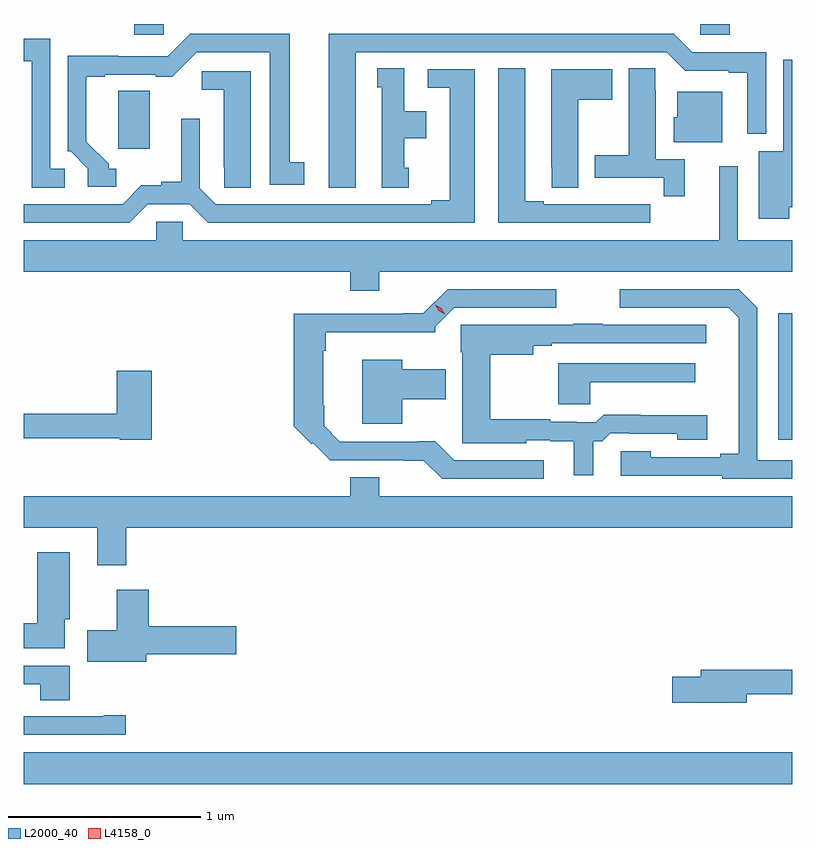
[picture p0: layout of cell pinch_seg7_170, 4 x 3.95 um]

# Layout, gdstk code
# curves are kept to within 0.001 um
import gdstk
lib = gdstk.Library(unit=1e-6, precision=1e-09)
def R(c, l, rs):  # rectangles x0, y0, x1, y1
    for r in rs: c.add(gdstk.rectangle(r[:2], r[2:], *l))
def P(c, l, *ps):  # polygons
    for p in ps: c.add(gdstk.Polygon(p, *l))
L2000_40 = (2000, 40)
L4158_0 = (4158, 0)

pinch_seg7_170 = lib.new_cell('pinch_seg7_170')
R(pinch_seg7_170, L2000_40, [(1106.128,1000.616,1110.128,1000.78), (1110.053,1002.406,1110.128,1003.064), (1106.705,1004.514,1106.856,1004.57), (1109.649,1004.514,1109.801,1004.57)])
P(pinch_seg7_170, L2000_40, [(1106.611,1003.818),(1106.572,1003.818),(1106.572,1003.842),(1106.455,1003.958),(1106.455,1004.295),(1106.551,1004.295),(1106.551,1004.307),(1106.816,1004.307),(1106.816,1004.296),(1106.902,1004.296),(1107.03,1004.424),(1107.41,1004.424),(1107.41,1003.734),(1107.589,1003.734),(1107.589,1003.85),(1107.514,1003.85),(1107.514,1004.52),(1106.994,1004.52),(1106.877,1004.403),(1106.621,1004.403),(1106.621,1004.405),(1106.358,1004.405),(1106.358,1003.908),(1106.373,1003.908),(1106.463,1003.818),(1106.463,1003.722),(1106.611,1003.722)],
  [(1107.856,1004.424),(1109.475,1004.424),(1109.571,1004.328),(1109.798,1004.328),(1109.798,1004.316),(1109.894,1004.316),(1109.894,1003.998),(1109.991,1003.998),(1109.991,1004.424),(1109.607,1004.424),(1109.511,1004.52),(1107.716,1004.52),(1107.716,1003.719),(1107.856,1003.719)],
  [(1106.341,1003.818),(1106.268,1003.818),(1106.268,1004.493),(1106.128,1004.493),(1106.128,1004.377),(1106.171,1004.377),(1106.171,1003.717),(1106.341,1003.717)],
  [(1110.112,1003.616),(1110.128,1003.616),(1110.128,1004.383),(1110.081,1004.383),(1110.081,1003.909),(1109.954,1003.909),(1109.954,1003.557),(1110.112,1003.557)],
  [(1108.132,1003.821),(1108.108,1003.821),(1108.108,1003.976),(1108.222,1003.976),(1108.222,1004.116),(1108.108,1004.116),(1108.108,1004.339),(1107.968,1004.339),(1107.968,1004.241),(1107.992,1004.241),(1107.992,1003.719),(1108.132,1003.719)],
  [(1109.567,1003.866),(1109.416,1003.866),(1109.416,1004.228),(1109.415,1004.228),(1109.415,1004.339),(1109.276,1004.339),(1109.276,1003.887),(1109.099,1003.887),(1109.099,1003.77),(1109.458,1003.77),(1109.458,1003.674),(1109.567,1003.674)],
  [(1109.389,1003.632),(1109.276,1003.632),(1109.276,1003.633),(1109.11,1003.633),(1109.11,1003.632),(1108.834,1003.632),(1108.834,1003.647),(1108.738,1003.647),(1108.738,1004.339),(1108.598,1004.339),(1108.598,1003.536),(1109.389,1003.536)],
  [(1109.014,1004.176),(1109.191,1004.176),(1109.191,1004.335),(1108.874,1004.335),(1108.874,1003.825),(1108.875,1003.825),(1108.875,1003.717),(1109.014,1003.717)],
  [(1106.775,1003.632),(1106.993,1003.632),(1107.089,1003.536),(1108.474,1003.536),(1108.474,1004.334),(1108.23,1004.334),(1108.23,1004.238),(1108.346,1004.238),(1108.346,1003.652),(1108.25,1003.652),(1108.25,1003.632),(1107.129,1003.632),(1107.045,1003.716),(1107.045,1004.077),(1106.948,1004.077),(1106.948,1003.748),(1106.844,1003.748),(1106.844,1003.73),(1106.741,1003.73),(1106.643,1003.632),(1106.128,1003.632),(1106.128,1003.536),(1106.679,1003.536)],
  [(1107.31,1004.325),(1107.054,1004.325),(1107.054,1004.228),(1107.17,1004.228),(1107.17,1003.825),(1107.171,1003.825),(1107.171,1003.717),(1107.31,1003.717)],
  [(1106.785,1004.064),(1106.784,1004.064),(1106.784,1004.222),(1106.621,1004.222),(1106.621,1003.92),(1106.785,1003.92)],
  [(1109.764,1004.218),(1109.528,1004.218),(1109.528,1004.085),(1109.51,1004.085),(1109.51,1003.955),(1109.764,1003.955)],
  [(1107.979,1003.28),(1110.128,1003.28),(1110.128,1003.444),(1109.844,1003.444),(1109.844,1003.831),(1109.747,1003.831),(1109.747,1003.444),(1106.955,1003.444),(1106.955,1003.542),(1106.817,1003.542),(1106.817,1003.444),(1106.128,1003.444),(1106.128,1003.28),(1107.827,1003.28),(1107.827,1003.181),(1107.979,1003.181)],
  [(1108.834,1002.3),(1108.368,1002.3),(1108.27,1002.399),(1108.175,1002.399),(1108.175,1002.396),(1107.774,1002.396),(1107.691,1002.48),(1107.691,1002.586),(1107.688,1002.586),(1107.688,1002.869),(1107.701,1002.869),(1107.701,1002.965),(1108.269,1002.965),(1108.269,1002.996),(1108.368,1003.095),(1108.9,1003.095),(1108.9,1003.191),(1108.335,1003.191),(1108.208,1003.064),(1108.103,1003.064),(1108.103,1003.062),(1107.533,1003.062),(1107.533,1002.477),(1107.626,1002.383),(1107.633,1002.391),(1107.723,1002.3),(1108.211,1002.299),(1108.305,1002.204),(1108.834,1002.204)],
  [(1110.128,1002.3),(1109.946,1002.3),(1109.946,1003.095),(1109.85,1003.191),(1109.229,1003.191),(1109.229,1003.095),(1109.796,1003.095),(1109.849,1003.042),(1109.849,1002.335),(1109.753,1002.335),(1109.753,1002.315),(1109.391,1002.315),(1109.391,1002.346),(1109.235,1002.346),(1109.235,1002.219),(1109.763,1002.219),(1109.763,1002.204),(1110.128,1002.204)],
  [(1109.092,1002.398),(1109.138,1002.398),(1109.181,1002.441),(1109.281,1002.441),(1109.281,1002.438),(1109.53,1002.438),(1109.53,1002.407),(1109.686,1002.407),(1109.686,1002.535),(1109.339,1002.535),(1109.339,1002.538),(1109.146,1002.538),(1109.106,1002.498),(1109.006,1002.498),(1109.006,1002.501),(1108.869,1002.501),(1108.869,1002.514),(1108.557,1002.514),(1108.557,1002.85),(1108.78,1002.85),(1108.78,1002.897),(1108.876,1002.897),(1108.876,1002.909),(1109.68,1002.909),(1109.68,1003.005),(1109.141,1003.005),(1109.141,1003.01),(1108.987,1003.01),(1108.987,1003.005),(1108.402,1003.006),(1108.402,1002.861),(1108.409,1002.861),(1108.409,1002.389),(1108.743,1002.389),(1108.743,1002.405),(1108.869,1002.405),(1108.869,1002.398),(1108.991,1002.398),(1108.991,1002.222),(1109.092,1002.222)],
  [(1108.099,1002.617),(1108.324,1002.617),(1108.324,1002.775),(1108.099,1002.775),(1108.099,1002.823),(1107.89,1002.823),(1107.89,1002.491),(1108.099,1002.491)],
  [(1109.075,1002.707),(1109.623,1002.707),(1109.623,1002.804),(1108.909,1002.804),(1108.909,1002.591),(1109.075,1002.591)],
  [(1106.795,1002.766),(1106.612,1002.766),(1106.612,1002.542),(1106.128,1002.542),(1106.128,1002.414),(1106.628,1002.414),(1106.628,1002.406),(1106.795,1002.406)],
  [(1106.663,1001.948),(1110.128,1001.948),(1110.128,1002.112),(1107.979,1002.112),(1107.979,1002.211),(1107.827,1002.211),(1107.827,1002.112),(1106.128,1002.112),(1106.128,1001.948),(1106.51,1001.948),(1106.51,1001.754),(1106.663,1001.754)],
  [(1106.341,1001.472),(1106.368,1001.472),(1106.368,1001.821),(1106.198,1001.821),(1106.198,1001.452),(1106.128,1001.452),(1106.128,1001.321),(1106.341,1001.321)],
  [(1106.767,1001.291),(1107.235,1001.291),(1107.235,1001.438),(1106.78,1001.438),(1106.78,1001.626),(1106.612,1001.626),(1106.612,1001.415),(1106.46,1001.415),(1106.46,1001.252),(1106.767,1001.252)],
  [(1106.369,1001.232),(1106.128,1001.232),(1106.128,1001.136),(1106.216,1001.136),(1106.216,1001.053),(1106.369,1001.053)],
  [(1109.89,1001.082),(1110.128,1001.082),(1110.128,1001.21),(1109.651,1001.21),(1109.651,1001.174),(1109.502,1001.174),(1109.502,1001.039),(1109.89,1001.039)],
  [(1106.659,1000.973),(1106.546,1000.973),(1106.546,1000.968),(1106.128,1000.968),(1106.128,1000.872),(1106.659,1000.872)])
P(pinch_seg7_170, L4158_0, [(1108.319,1003.06),(1108.288,1003.078),(1108.27,1003.109),(1108.27,1003.109),(1108.27,1003.109),(1108.302,1003.092),(1108.32,1003.06),(1108.32,1003.06)])

lib.write_gds('pinch_seg7_170.gds')
